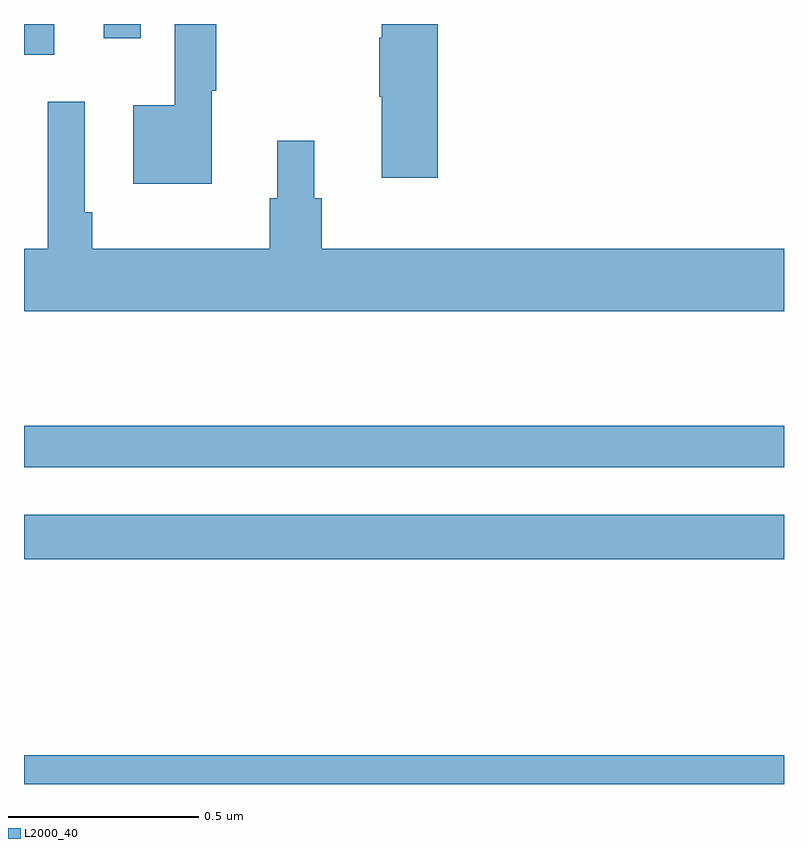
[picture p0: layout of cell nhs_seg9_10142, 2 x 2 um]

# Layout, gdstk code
import gdstk
lib = gdstk.Library(unit=1e-6, precision=1e-09)
def R(c, l, rs):  # rectangles x0, y0, x1, y1
    for r in rs: c.add(gdstk.rectangle(r[:2], r[2:], *l))
def P(c, l, *ps):  # polygons
    for p in ps: c.add(gdstk.Polygon(p, *l))
L2000_40 = (2000, 40)

nhs_seg9_10142 = lib.new_cell('nhs_seg9_10142')
R(nhs_seg9_10142, L2000_40, [(239,1204.5,241,1204.576), (239,1205.092,241,1205.208), (239,1205.334,241,1205.443), (239,1206.419,239.08,1206.5), (239.21,1206.462,239.307,1206.5)])
P(nhs_seg9_10142, L2000_40, [(240.089,1206.5),(239.942,1206.5),(239.942,1206.464),(239.935,1206.464),(239.935,1206.308),(239.942,1206.308),(239.942,1206.096),(240.089,1206.096)],
  [(239.494,1206.324),(239.506,1206.324),(239.506,1206.5),(239.397,1206.5),(239.397,1206.286),(239.288,1206.286),(239.288,1206.08),(239.494,1206.08)],
  [(241,1205.908),(239.783,1205.908),(239.783,1206.042),(239.764,1206.042),(239.764,1206.193),(239.666,1206.193),(239.666,1206.042),(239.647,1206.042),(239.647,1205.908),(239.18,1205.908),(239.18,1206.004),(239.16,1206.004),(239.16,1206.295),(239.063,1206.295),(239.063,1205.908),(239,1205.908),(239,1205.744),(241,1205.744)])

lib.write_gds('nhs_seg9_10142.gds')
